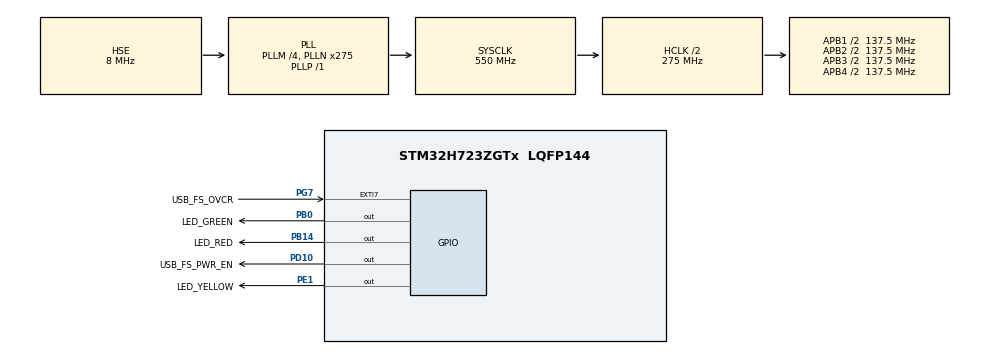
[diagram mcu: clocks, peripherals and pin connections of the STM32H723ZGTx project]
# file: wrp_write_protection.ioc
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Mcu.Family=STM32H7
Mcu.Name=STM32H723ZGTx
Mcu.Package=LQFP144
NVIC.PriorityGroup=NVIC_PRIORITYGROUP_4
PA13(JTMS/SWDIO).GPIO_Label=SWDIO
PA13(JTMS/SWDIO).Mode=Trace_Asynchronous_SW
PA13(JTMS/SWDIO).Signal=DEBUG_JTMS-SWDIO
PA14(JTCK/SWCLK).GPIO_Label=SWCLK
PA14(JTCK/SWCLK).Mode=Trace_Asynchronous_SW
PA14(JTCK/SWCLK).Signal=DEBUG_JTCK-SWCLK
PB0.GPIO_Label=LED_GREEN
PB0.Signal=GPIO_Output
PB14.GPIO_Label=LED_RED
PB14.Signal=GPIO_Output
PB3(JTDO/TRACESWO).GPIO_Label=SWO
PB3(JTDO/TRACESWO).Mode=Trace_Asynchronous_SW
PB3(JTDO/TRACESWO).Signal=DEBUG_JTDO-SWO
PC14-OSC32_IN.Mode=LSE-External-Oscillator
PC14-OSC32_IN.Signal=RCC_OSC32_IN
PC15-OSC32_OUT.Mode=LSE-External-Oscillator
PC15-OSC32_OUT.Signal=RCC_OSC32_OUT
PD10.GPIO_Label=USB_FS_PWR_EN
PD10.Signal=GPIO_Output
PE1.GPIO_Label=LED_YELLOW
PE1.Signal=GPIO_Output
PG7.GPIO_Label=USB_FS_OVCR
PG7.Signal=GPXTI7
PH0-OSC_IN.GPIO_Label=MCO
PH0-OSC_IN.Mode=HSE-External-Clock-Source
PH0-OSC_IN.Signal=RCC_OSC_IN
ProjectManager.HeapSize=0x200
ProjectManager.StackSize=0x400
ProjectManager.TargetToolchain=STM32CubeIDE
RCC.ADCFreq_Value=76000000
RCC.APB1Freq_Value=137500000
RCC.APB2Freq_Value=137500000
RCC.APB3Freq_Value=137500000
RCC.APB4Freq_Value=137500000
RCC.CortexFreq_Value=550000000
RCC.D1PPRE=RCC_APB3_DIV2
RCC.D2PPRE1=RCC_APB1_DIV2
RCC.D2PPRE2=RCC_APB2_DIV2
RCC.D3PPRE=RCC_APB4_DIV2
RCC.DIVM1=4
RCC.DIVM2=1
RCC.DIVN1=275
RCC.DIVN2=19
RCC.DIVP1=1
RCC.DIVQ1=4
RCC.HCLKFreq_Value=275000000
RCC.HPRE=RCC_HCLK_DIV2
RCC.HSE_VALUE=8000000
RCC.PLLFRACN=0
RCC.PLLSourceVirtual=RCC_PLLSOURCE_HSE
RCC.SYSCLKFreq_VALUE=550000000
RCC.SYSCLKSource=RCC_SYSCLKSOURCE_PLLCLK
RCC.USBCLockSelection=RCC_USBCLKSOURCE_HSI48
RCC.USBFreq_Value=48000000
board=NUCLEO-H723ZG

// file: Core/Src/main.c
/* USER CODE BEGIN Header */
/**
  ******************************************************************************
  * @file           : main.c
  * @brief          : Main program body
  ******************************************************************************
  * @attention
  *
  * Copyright (c) 2023 STMicroelectronics.
  * All rights reserved.
  *
  * This software is licensed under terms that can be found in the LICENSE file
  * in the root directory of this software component.
  * If no LICENSE file comes with this software, it is provided AS-IS.
  *
  ******************************************************************************
  */
/* USER CODE END Header */
#include "main.h"

/* USER CODE BEGIN PD */
#define WRP_ON

#ifdef WRP_ON

#define OB_WRP_STATE 			OB_WRPSTATE_ENABLE
#define OB_WRP_FLASH_BANK 		FLASH_BANK_1

/*
 * Enable defines in order i.e. Test 1 followed by Test 2
 * WARNING or NOTE: Flash sectors 0 and 1 contain the application code.
 	 	 So if those sectors are used in OB_WRP_SECTORS define, they will be write protected
 	 	 and you'll need to remove the WRP protection (e.g. using STM32CubeProgrammer) if you
 	 	 need to re-program the application.

 */
/* Un-comment only for TEST 1: Program sectors 2,3 and 5 */
#define OB_WRP_SECTORS (OB_WRP_SECTOR_2 | OB_WRP_SECTOR_3 | OB_WRP_SECTOR_6)

/* Un-comment only for TEST 2: Program sector 2) */
//#define OB_WRP_SECTORS (OB_WRP_SECTOR_6)

#endif /* WRP_ON */

/* USER CODE END PD */

void SystemClock_Config(void);
static void MX_GPIO_Init(void);

/* USER CODE BEGIN PFP */
#ifdef WRP_ON

HAL_StatusTypeDef set_WRP(uint32_t bank_num, uint32_t state);
static void WRP_Config_Error(void);

#endif
/* USER CODE END PFP */

int main(void)
{

  /* MCU Configuration--------------------------------------------------------*/

  /* Reset of all peripherals, Initializes the Flash interface and the Systick. */
  HAL_Init();

  /* Configure the system clock */
  SystemClock_Config();

  /* Initialize all configured peripherals */
  MX_GPIO_Init();
  /* USER CODE BEGIN 2 */
#ifdef WRP_ON
  HAL_StatusTypeDef err;

  /* FLASH_BANK_1 and OB_WRPSTATE_ENABLE from stm32h7xx_hal_flash_ex.h file */
  /* OB_WRP_SECTORS defined in main.c */
  err = set_WRP(OB_WRP_FLASH_BANK, OB_WRP_STATE);

  if (err == HAL_OK)
  {
	  HAL_GPIO_WritePin (GPIOB, LED_GREEN_Pin, GPIO_PIN_SET);
	  HAL_Delay(1000);
  }
  else
  {
	  /* Turn On Red LED if an error occurs */
	  WRP_Config_Error();
  }

#endif
  /* USER CODE END 2 */

  /* Infinite loop */
  /* USER CODE BEGIN WHILE */
  while (1)
  {
	  /* Toggle GREEN LED once WRP OB programming successful */
	  HAL_GPIO_TogglePin(GPIOB, LED_GREEN_Pin);
	  HAL_Delay(500);
    /* USER CODE END WHILE */

  }
}

/* USER CODE BEGIN 4 */

#ifdef WRP_ON

/**
  * @brief  Function to set OB (WRP)
  * @param  bank_num: Flash Bank Number
  * @param  state: WRP state enable/disable
  * @param  sectors: Flash Sectors to be programmed
  * @retval HAL_Status
  *         Continuous Red LED blinking
  */
HAL_StatusTypeDef set_WRP(uint32_t bank_num, uint32_t state)
{
	HAL_StatusTypeDef err;
	static FLASH_OBProgramInitTypeDef OB;

	OB.OptionType = OPTIONBYTE_WRP;
	OB.WRPState = state;	/* PB_WRPSTATE_ENABLE */
	OB.Banks = bank_num;	/* FLASH_BANK_1 */

	/* Fetch all OB type configuration (we need WRP sectors)
	 * This step is to check if protection are already set
	 */
	HAL_FLASHEx_OBGetConfig(&OB);

	/* Retrieve WRPSector information from Option Bytes */
	unsigned int ob_wrp_sectors = OB.WRPSector;

	/* Check if user defined WRP sectors are pre-programmed and turn on YELLOW LED if true.*/
	if ((ob_wrp_sectors & OB_WRP_SECTORS) == OB_WRP_SECTORS)
	{
		HAL_GPIO_WritePin (LED_YELLOW_GPIO_Port, LED_YELLOW_Pin, GPIO_PIN_SET);
		return HAL_OK;
	}
	else
	{
		/* Check if certain sectors have been pre-programmed */
		if(ob_wrp_sectors & OB_WRP_SECTORS)
		{
			/* Toggle YELLOW LED thrice and leave it ON */
			int max_toggle_count = 9;
			for(int i = 0; i < max_toggle_count; i++)
			{
				HAL_GPIO_TogglePin(LED_YELLOW_GPIO_Port, LED_YELLOW_Pin);
				HAL_Delay(200);
			}
		}
		else
		{
			/* If Flash sectors are not pre-programmed, disable Yellow LED and proceed to program WRP OB */
			HAL_GPIO_WritePin (LED_YELLOW_GPIO_Port, LED_YELLOW_Pin, GPIO_PIN_RESET);
		}

		OB.OptionType = OPTIONBYTE_WRP;
		OB.WRPState = state;	/* PB_WRPSTATE_ENABLE */
		OB.Banks = bank_num;	/* FLASH_BANK_1 */
		OB.WRPSector = OB_WRP_SECTORS;	/* Program new sectors - Managed through #define above */

		err = HAL_FLASH_Unlock();
		err |= HAL_FLASH_OB_Unlock();
		err |=  HAL_FLASHEx_OBProgram(&OB);

		/* If all is okay, next command triggers a system reset with updated OB */
		if (err == HAL_OK)
		{
			HAL_FLASH_OB_Launch();
			return(HAL_OK);
		}
		else
		{
		  HAL_FLASH_OB_Lock();
		  HAL_FLASH_Lock();
		  return HAL_ERROR;
		}
	}
}

/**
  * @brief  Error handler called on OB (WRP)configuration setting
  * @param  None
  * @retval None
  *         Continuous Red LED blinking
  */
static void WRP_Config_Error(void)
{
	HAL_GPIO_WritePin (GPIOB, LED_RED_Pin, GPIO_PIN_SET);
	while (1)
	{
	  HAL_GPIO_TogglePin (GPIOB, LED_RED_Pin);
	  HAL_Delay (100);
	}
}
#endif /* WRP_ON */

/* USER CODE END 4 */

void SystemClock_Config(void)
{
  RCC_OscInitTypeDef RCC_OscInitStruct = {0};
  RCC_ClkInitTypeDef RCC_ClkInitStruct = {0};

  /** Supply configuration update enable
  */
  HAL_PWREx_ConfigSupply(PWR_LDO_SUPPLY);

  /** Configure the main internal regulator output voltage
  */
  __HAL_PWR_VOLTAGESCALING_CONFIG(PWR_REGULATOR_VOLTAGE_SCALE0);

  while(!__HAL_PWR_GET_FLAG(PWR_FLAG_VOSRDY)) {}

  /** Initializes the RCC Oscillators according to the specified parameters
  * in the RCC_OscInitTypeDef structure.
  */
  RCC_OscInitStruct.OscillatorType = RCC_OSCILLATORTYPE_HSE;
  RCC_OscInitStruct.HSEState = RCC_HSE_BYPASS;
  RCC_OscInitStruct.PLL.PLLState = RCC_PLL_ON;
  RCC_OscInitStruct.PLL.PLLSource = RCC_PLLSOURCE_HSE;
  RCC_OscInitStruct.PLL.PLLM = 4;
  RCC_OscInitStruct.PLL.PLLN = 275;
  RCC_OscInitStruct.PLL.PLLP = 1;
  RCC_OscInitStruct.PLL.PLLQ = 4;
  RCC_OscInitStruct.PLL.PLLR = 2;
  RCC_OscInitStruct.PLL.PLLRGE = RCC_PLL1VCIRANGE_1;
  RCC_OscInitStruct.PLL.PLLVCOSEL = RCC_PLL1VCOWIDE;
  RCC_OscInitStruct.PLL.PLLFRACN = 0;
  if (HAL_RCC_OscConfig(&RCC_OscInitStruct) != HAL_OK)
  {
    Error_Handler();
  }

  /** Initializes the CPU, AHB and APB buses clocks
  */
  RCC_ClkInitStruct.ClockType = RCC_CLOCKTYPE_HCLK|RCC_CLOCKTYPE_SYSCLK
                              |RCC_CLOCKTYPE_PCLK1|RCC_CLOCKTYPE_PCLK2
                              |RCC_CLOCKTYPE_D3PCLK1|RCC_CLOCKTYPE_D1PCLK1;
  RCC_ClkInitStruct.SYSCLKSource = RCC_SYSCLKSOURCE_PLLCLK;
  RCC_ClkInitStruct.SYSCLKDivider = RCC_SYSCLK_DIV1;
  RCC_ClkInitStruct.AHBCLKDivider = RCC_HCLK_DIV2;
  RCC_ClkInitStruct.APB3CLKDivider = RCC_APB3_DIV2;
  RCC_ClkInitStruct.APB1CLKDivider = RCC_APB1_DIV2;
  RCC_ClkInitStruct.APB2CLKDivider = RCC_APB2_DIV2;
  RCC_ClkInitStruct.APB4CLKDivider = RCC_APB4_DIV2;

  if (HAL_RCC_ClockConfig(&RCC_ClkInitStruct, FLASH_LATENCY_3) != HAL_OK)
  {
    Error_Handler();
  }
}

static void MX_GPIO_Init(void)
{
  GPIO_InitTypeDef GPIO_InitStruct = {0};

  /* GPIO Ports Clock Enable */
  __HAL_RCC_GPIOC_CLK_ENABLE();
  __HAL_RCC_GPIOH_CLK_ENABLE();
  __HAL_RCC_GPIOB_CLK_ENABLE();
  __HAL_RCC_GPIOD_CLK_ENABLE();
  __HAL_RCC_GPIOG_CLK_ENABLE();
  __HAL_RCC_GPIOA_CLK_ENABLE();
  __HAL_RCC_GPIOE_CLK_ENABLE();

  /*Configure GPIO pin Output Level */
  HAL_GPIO_WritePin(GPIOB, LED_GREEN_Pin|LED_RED_Pin, GPIO_PIN_RESET);

  /*Configure GPIO pin Output Level */
  HAL_GPIO_WritePin(USB_FS_PWR_EN_GPIO_Port, USB_FS_PWR_EN_Pin, GPIO_PIN_RESET);

  /*Configure GPIO pin Output Level */
  HAL_GPIO_WritePin(LED_YELLOW_GPIO_Port, LED_YELLOW_Pin, GPIO_PIN_RESET);

  /*Configure GPIO pins : LED_GREEN_Pin LED_RED_Pin */
  GPIO_InitStruct.Pin = LED_GREEN_Pin|LED_RED_Pin;
  GPIO_InitStruct.Mode = GPIO_MODE_OUTPUT_PP;
  GPIO_InitStruct.Pull = GPIO_NOPULL;
  GPIO_InitStruct.Speed = GPIO_SPEED_FREQ_LOW;
  HAL_GPIO_Init(GPIOB, &GPIO_InitStruct);

  /*Configure GPIO pin : USB_FS_PWR_EN_Pin */
  GPIO_InitStruct.Pin = USB_FS_PWR_EN_Pin;
  GPIO_InitStruct.Mode = GPIO_MODE_OUTPUT_PP;
  GPIO_InitStruct.Pull = GPIO_NOPULL;
  GPIO_InitStruct.Speed = GPIO_SPEED_FREQ_LOW;
  HAL_GPIO_Init(USB_FS_PWR_EN_GPIO_Port, &GPIO_InitStruct);

  /*Configure GPIO pin : USB_FS_OVCR_Pin */
  GPIO_InitStruct.Pin = USB_FS_OVCR_Pin;
  GPIO_InitStruct.Mode = GPIO_MODE_IT_RISING;
  GPIO_InitStruct.Pull = GPIO_NOPULL;
  HAL_GPIO_Init(USB_FS_OVCR_GPIO_Port, &GPIO_InitStruct);

  /*Configure GPIO pin : LED_YELLOW_Pin */
  GPIO_InitStruct.Pin = LED_YELLOW_Pin;
  GPIO_InitStruct.Mode = GPIO_MODE_OUTPUT_PP;
  GPIO_InitStruct.Pull = GPIO_NOPULL;
  GPIO_InitStruct.Speed = GPIO_SPEED_FREQ_LOW;
  HAL_GPIO_Init(LED_YELLOW_GPIO_Port, &GPIO_InitStruct);

}

void Error_Handler(void)
{
  __disable_irq();
  while (1)
  {
  }
}
